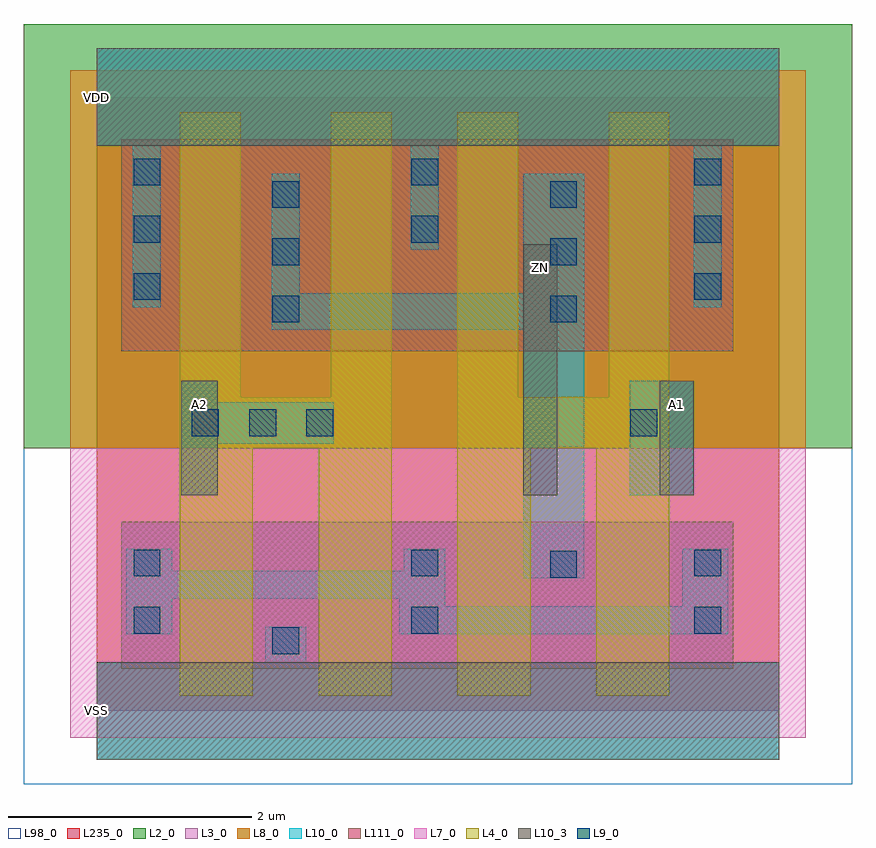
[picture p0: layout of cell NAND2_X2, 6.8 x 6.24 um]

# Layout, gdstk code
import gdstk
lib = gdstk.Library(unit=1e-6, precision=1e-09)
def R(c, l, rs):  # rectangles x0, y0, x1, y1
    for r in rs: c.add(gdstk.rectangle(r[:2], r[2:], *l))
def A(c, l, x, y, w, h, nx, ny, dx, dy):  # array of equal rectangles
    R(c, l, [(x+i*dx, y+j*dy, x+i*dx+w, y+j*dy+h) for i in range(nx) for j in range(ny)])
def P(c, l, *ps):  # polygons
    for p in ps: c.add(gdstk.Polygon(p, *l))
L2_0 = (2, 0)
L3_0 = (3, 0)
L4_0 = (4, 0)
L7_0 = (7, 0)
L8_0 = (8, 0)
L9_0 = (9, 0)
L10_0 = (10, 0)
L10_3 = (10, 3)
L98_0 = (98, 0)
L111_0 = (111, 0)
L235_0 = (235, 0)

nand2_x2 = lib.new_cell('NAND2_X2')
R(nand2_x2, L2_0, [(-0.6,2.155,6.2,5.64)])
A(nand2_x2, L3_0, 0.2, 3.275, 0.42, 0.42, 1, 3, 0, 0.47)
A(nand2_x2, L3_0, 4.805, 3.275, 0.42, 0.42, 1, 3, 0, 0.47)
R(nand2_x2, L3_0, [(0.2,0.345,5.225,1.555), (1.34,0.365,1.76,0.785), (0.2,0.535,0.62,0.955), (2.48,0.535,2.9,0.955), (4.805,0.535,5.225,0.955), (3.62,0.995,4.04,1.415), (0.2,1.005,0.62,1.425), (2.48,1.005,2.9,1.425), (4.805,1.005,5.225,1.425), (0.2,2.955,5.225,4.695), (1.34,3.09,1.76,4.45), (3.62,3.09,4.04,4.45), (2.48,3.745,2.9,4.165), (2.48,4.215,2.9,4.635)])
R(nand2_x2, L4_0, [(0.68,2.155,2.42,2.575), (0.68,2.155,2.04,2.575), (2.96,2.155,4.7,2.575), (4.28,2.155,4.7,2.575)])
P(nand2_x2, L4_0, [(4.7,4.915),(4.2,4.915),(4.2,2.575),(4.1,2.575),(4.1,0.125),(4.7,0.125)],
  [(3.56,2.575),(3.46,2.575),(3.46,4.915),(2.96,4.915),(2.96,0.125),(3.56,0.125)],
  [(1.28,2.575),(1.18,2.575),(1.18,4.915),(0.68,4.915),(0.68,0.125),(1.28,0.125)],
  [(2.42,4.915),(1.92,4.915),(1.92,2.575),(1.82,2.575),(1.82,0.125),(2.42,0.125)])
R(nand2_x2, L7_0, [(-0.22,-0.22,5.82,2.155)])
R(nand2_x2, L8_0, [(-0.22,2.155,5.82,5.26)])
A(nand2_x2, L9_0, 0.78, 2.255, 0.22, 0.22, 3, 1, 0.47, 0)
A(nand2_x2, L9_0, 1.44, 3.19, 0.22, 0.22, 1, 3, 0, 0.47)
A(nand2_x2, L9_0, 3.72, 3.19, 0.22, 0.22, 1, 3, 0, 0.47)
A(nand2_x2, L9_0, 0.3, 3.375, 0.22, 0.22, 1, 3, 0, 0.47)
A(nand2_x2, L9_0, 4.905, 3.375, 0.22, 0.22, 1, 3, 0, 0.47)
R(nand2_x2, L9_0, [(1.44,0.465,1.66,0.685), (0.3,0.635,0.52,0.855), (2.58,0.635,2.8,0.855), (4.905,0.635,5.125,0.855), (3.72,1.095,3.94,1.315), (0.3,1.105,0.52,1.325), (2.58,1.105,2.8,1.325), (4.905,1.105,5.125,1.325), (4.38,2.255,4.6,2.475), (2.58,3.845,2.8,4.065), (2.58,4.315,2.8,4.535)])
A(nand2_x2, L10_0, 0.295, 3.315, 0.23, 0.34, 1, 3, 0, 0.47)
A(nand2_x2, L10_0, 4.9, 3.315, 0.23, 0.34, 1, 3, 0, 0.47)
R(nand2_x2, L10_0, [(1.38,0.46,1.72,0.69), (0.24,0.63,0.58,0.86), (2.48,0.63,2.86,1.15), (2.52,0.63,2.86,0.86), (4.845,0.63,5.185,0.86), (3.5,1.09,3.78,4.41), (3.66,1.09,4,1.32), (3.715,1.09,4,4.41), (0.24,1.1,0.58,1.33), (2.52,1.1,2.86,1.33), (4.845,1.1,5.185,1.33), (0.69,1.77,0.99,2.71), (4.375,1.77,4.9,2.71), (0.775,2.195,1.945,2.535), (4.375,2.195,4.605,2.535), (1.435,3.13,1.665,4.41), (1.435,3.13,3.945,3.43), (3.715,3.13,3.945,4.41), (2.575,3.785,2.805,4.125), (2.575,4.255,2.805,4.595)])
P(nand2_x2, L10_0, [(5.185,1.33),(4.805,1.33),(4.805,0.86),(2.63,0.86),(2.63,0.63),(5.185,0.63)],
  [(2.86,1.15),(0.62,1.15),(0.62,1.33),(0.24,1.33),(0.24,0.63),(0.62,0.63),(0.62,0.92),(2.86,0.92)])
R(nand2_x2, L10_3, [(0,-0.4,5.6,0.4), (0.69,1.77,0.99,2.71), (3.5,1.77,3.78,3.83), (4.62,1.77,4.9,2.71), (0,4.64,5.6,5.44)])
R(nand2_x2, L98_0, [(-0.6,-0.6,6.2,5.64)])
R(nand2_x2, L111_0, [(0.2,0.345,5.225,1.555), (0.2,2.955,5.225,4.695)])
R(nand2_x2, L235_0, [(0,0,5.6,5.04)])
nand2_x2.add(gdstk.FlexPath([(2.69,3.785),(2.69,5.04)], 0.23, ends="flush", simple_path=True, layer=10, datatype=0))  # L10_0
nand2_x2.add(gdstk.FlexPath([(0,0),(5.6,0)], 0.8, ends="flush", simple_path=True, layer=10, datatype=0))  # L10_0
nand2_x2.add(gdstk.FlexPath([(0,5.04),(5.6,5.04)], 0.8, ends="flush", simple_path=True, layer=10, datatype=0))  # L10_0
nand2_x2.add(gdstk.FlexPath([(5.015,3.315),(5.015,5.04)], 0.23, ends="flush", simple_path=True, layer=10, datatype=0))  # L10_0
nand2_x2.add(gdstk.FlexPath([(1.55,0),(1.55,0.69)], 0.34, ends="flush", simple_path=True, layer=10, datatype=0))  # L10_0
nand2_x2.add(gdstk.FlexPath([(0.41,3.315),(0.41,5.04)], 0.23, ends="flush", simple_path=True, layer=10, datatype=0))  # L10_0
nand2_x2.add(gdstk.Label('VDD', (0,5.04), layer=10, texttype=3))
nand2_x2.add(gdstk.Label('ZN', (3.64,3.64), layer=10, texttype=3))
nand2_x2.add(gdstk.Label('A2', (0.84,2.52), layer=10, texttype=3))
nand2_x2.add(gdstk.Label('A1', (4.76,2.52), layer=10, texttype=3))
nand2_x2.add(gdstk.Label('VSS', (0,0), layer=10, texttype=3))
nand2_x2.add(gdstk.Label('& Vendor Primarius technologies Co.,Ltd.', (0,0), layer=58, texttype=0))
nand2_x2.add(gdstk.Label('& Product prima_sc180bcd_5v_9t', (0,0), layer=58, texttype=0))
nand2_x2.add(gdstk.Label('& Version 2023Q3', (0,0), layer=58, texttype=0))

lib.write_gds('NAND2_X2.gds')
